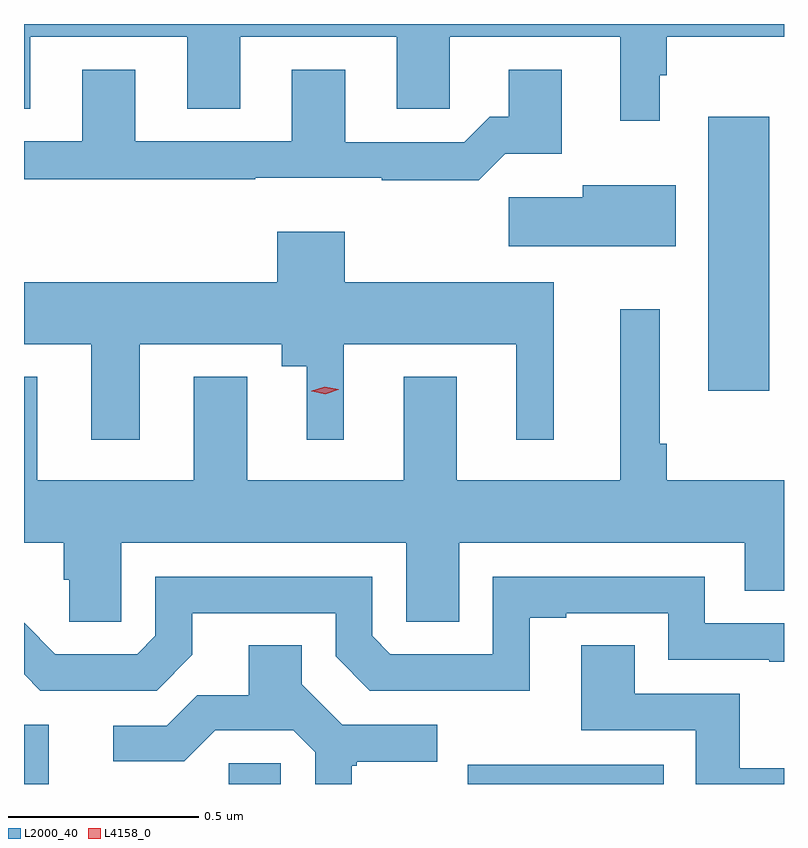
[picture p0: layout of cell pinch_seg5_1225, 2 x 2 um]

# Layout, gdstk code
import gdstk
lib = gdstk.Library(unit=1e-6, precision=1e-09)
def R(c, l, rs):  # rectangles x0, y0, x1, y1
    for r in rs: c.add(gdstk.rectangle(r[:2], r[2:], *l))
def P(c, l, *ps):  # polygons
    for p in ps: c.add(gdstk.Polygon(p, *l))
L2000_40 = (2000, 40)
L4158_0 = (4158, 0)

pinch_seg5_1225 = lib.new_cell('pinch_seg5_1225')
R(pinch_seg5_1225, L2000_40, [(861.08,836.145,861.145,836.301), (861.619,836.145,861.756,836.199), (862.248,836.145,862.763,836.196), (862.88,837.18,863.041,837.901)])
P(pinch_seg5_1225, L2000_40, [(862.753,838.01),(862.771,838.01),(862.771,838.112),(863.08,838.112),(863.08,838.145),(861.08,838.145),(861.08,837.922),(861.097,837.922),(861.097,838.112),(861.509,838.112),(861.509,837.922),(861.649,837.922),(861.649,838.112),(862.061,838.112),(862.061,837.922),(862.2,837.922),(862.2,838.112),(862.649,838.112),(862.649,837.891),(862.753,837.891)],
  [(862.346,837.803),(862.495,837.803),(862.495,838.024),(862.355,838.024),(862.355,837.901),(862.306,837.901),(862.239,837.834),(861.925,837.834),(861.925,838.024),(861.785,838.024),(861.785,837.837),(861.373,837.837),(861.373,838.024),(861.233,838.024),(861.233,837.837),(861.08,837.837),(861.08,837.736),(861.689,837.736),(861.689,837.74),(862.021,837.74),(862.021,837.734),(862.277,837.734)],
  [(862.795,837.721),(862.55,837.721),(862.55,837.689),(862.356,837.689),(862.356,837.56),(862.795,837.56)],
  [(861.385,837.302),(861.758,837.302),(861.758,837.245),(861.824,837.245),(861.824,837.051),(861.922,837.051),(861.922,837.302),(862.376,837.302),(862.376,837.051),(862.474,837.051),(862.474,837.466),(861.924,837.466),(861.924,837.598),(861.746,837.598),(861.746,837.466),(861.08,837.466),(861.08,837.302),(861.257,837.302),(861.257,837.051),(861.385,837.051)],
  [(861.336,836.78),(862.086,836.78),(862.086,836.572),(862.225,836.572),(862.225,836.78),(862.977,836.78),(862.977,836.653),(863.08,836.653),(863.08,836.944),(862.771,836.944),(862.771,837.04),(862.753,837.04),(862.753,837.394),(862.649,837.394),(862.649,836.944),(862.219,836.944),(862.219,837.217),(862.079,837.217),(862.079,836.944),(861.667,836.944),(861.667,837.217),(861.527,837.217),(861.527,836.944),(861.115,836.944),(861.115,837.217),(861.08,837.217),(861.08,836.78),(861.185,836.78),(861.185,836.682),(861.199,836.682),(861.199,836.572),(861.336,836.572)],
  [(862.411,836.583),(862.507,836.583),(862.507,836.595),(862.776,836.595),(862.776,836.472),(863.041,836.472),(863.041,836.467),(863.08,836.467),(863.08,836.568),(862.872,836.568),(862.872,836.691),(862.314,836.691),(862.314,836.487),(862.044,836.487),(861.996,836.535),(861.996,836.691),(861.426,836.691),(861.426,836.535),(861.378,836.487),(861.162,836.487),(861.08,836.569),(861.08,836.434),(861.123,836.391),(861.429,836.391),(861.523,836.485),(861.523,836.595),(861.9,836.595),(861.9,836.481),(861.99,836.391),(862.206,836.391),(862.206,836.39),(862.411,836.39)],
  [(861.943,836.193),(861.955,836.193),(861.955,836.204),(862.168,836.204),(862.168,836.301),(861.918,836.301),(861.811,836.408),(861.811,836.51),(861.671,836.51),(861.671,836.378),(861.536,836.378),(861.456,836.298),(861.315,836.298),(861.315,836.205),(861.502,836.205),(861.583,836.286),(861.789,836.286),(861.846,836.229),(861.846,836.145),(861.943,836.145)],
  [(863.08,836.186),(862.964,836.186),(862.964,836.382),(862.687,836.382),(862.687,836.51),(862.547,836.51),(862.547,836.286),(862.848,836.286),(862.848,836.145),(863.08,836.145)])
P(pinch_seg5_1225, L4158_0, [(861.873,837.171),(861.837,837.179),(861.836,837.179),(861.837,837.18),(861.871,837.191),(861.907,837.184),(861.908,837.183),(861.907,837.183)])

lib.write_gds('pinch_seg5_1225.gds')
